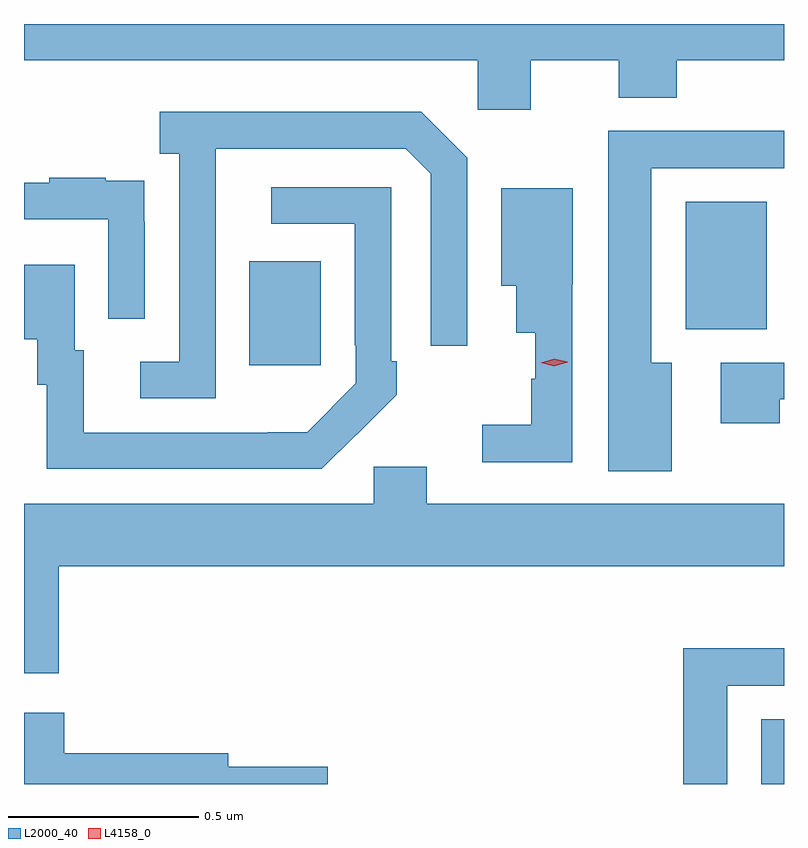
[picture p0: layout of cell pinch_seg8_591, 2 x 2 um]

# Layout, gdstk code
import gdstk
lib = gdstk.Library(unit=1e-6, precision=1e-09)
def R(c, l, rs):  # rectangles x0, y0, x1, y1
    for r in rs: c.add(gdstk.rectangle(r[:2], r[2:], *l))
def P(c, l, *ps):  # polygons
    for p in ps: c.add(gdstk.Polygon(p, *l))
L2000_40 = (2000, 40)
L4158_0 = (4158, 0)

pinch_seg8_591 = lib.new_cell('pinch_seg8_591')
R(pinch_seg8_591, L2000_40, [(173.09,1095.947,173.15,1096.117), (171.743,1097.049,171.931,1097.323), (172.892,1097.144,173.104,1097.479)])
P(pinch_seg8_591, L2000_40, [(172.483,1097.852),(172.715,1097.852),(172.715,1097.753),(172.868,1097.753),(172.868,1097.852),(173.15,1097.852),(173.15,1097.947),(171.15,1097.947),(171.15,1097.852),(172.344,1097.852),(172.344,1097.721),(172.483,1097.721)],
  [(171.654,1097.419),(171.655,1097.419),(171.655,1097.619),(172.155,1097.619),(172.221,1097.553),(172.221,1097.1),(172.317,1097.1),(172.317,1097.595),(172.196,1097.716),(171.507,1097.716),(171.507,1097.606),(171.558,1097.606),(171.558,1097.058),(171.456,1097.058),(171.456,1096.962),(171.654,1096.962)],
  [(172.855,1097.056),(172.801,1097.056),(172.801,1097.568),(173.15,1097.568),(173.15,1097.666),(172.688,1097.666),(172.688,1096.77),(172.855,1096.77)],
  [(171.468,1097.426),(171.467,1097.426),(171.467,1097.535),(171.365,1097.535),(171.365,1097.542),(171.217,1097.542),(171.217,1097.529),(171.15,1097.529),(171.15,1097.433),(171.372,1097.433),(171.372,1097.172),(171.468,1097.172)],
  [(172.025,1096.867),(172.026,1096.866),(172.131,1096.971),(172.131,1097.059),(172.116,1097.059),(172.116,1097.517),(171.801,1097.517),(171.801,1097.421),(172.02,1097.421),(172.02,1097.101),(172.023,1097.101),(172.023,1097.001),(171.895,1096.873),(171.791,1096.873),(171.791,1096.872),(171.307,1096.872),(171.307,1097.088),(171.283,1097.088),(171.283,1097.314),(171.15,1097.314),(171.15,1097.117),(171.185,1097.117),(171.185,1096.998),(171.21,1096.998),(171.21,1096.776),(171.934,1096.776)],
  [(172.593,1097.262),(172.594,1097.262),(172.594,1097.515),(172.406,1097.515),(172.406,1097.258),(172.445,1097.258),(172.445,1097.135),(172.496,1097.135),(172.496,1097.013),(172.485,1097.013),(172.485,1096.893),(172.356,1096.893),(172.356,1096.794),(172.593,1096.794)],
  [(173.139,1096.959),(173.15,1096.959),(173.15,1097.055),(172.983,1097.055),(172.983,1096.896),(173.139,1096.896)],
  [(171.241,1096.52),(173.15,1096.52),(173.15,1096.684),(172.21,1096.684),(172.21,1096.782),(172.071,1096.782),(172.071,1096.684),(171.15,1096.684),(171.15,1096.239),(171.241,1096.239)],
  [(173.001,1096.206),(173.15,1096.206),(173.15,1096.304),(172.885,1096.304),(172.885,1095.947),(173.001,1095.947)],
  [(171.949,1095.992),(171.688,1095.992),(171.688,1096.028),(171.256,1096.028),(171.256,1096.135),(171.15,1096.135),(171.15,1095.947),(171.949,1095.947)])
P(pinch_seg8_591, L4158_0, [(172.546,1097.046),(172.51,1097.055),(172.51,1097.056),(172.51,1097.056),(172.545,1097.066),(172.581,1097.058),(172.581,1097.058),(172.581,1097.057)])

lib.write_gds('pinch_seg8_591.gds')
